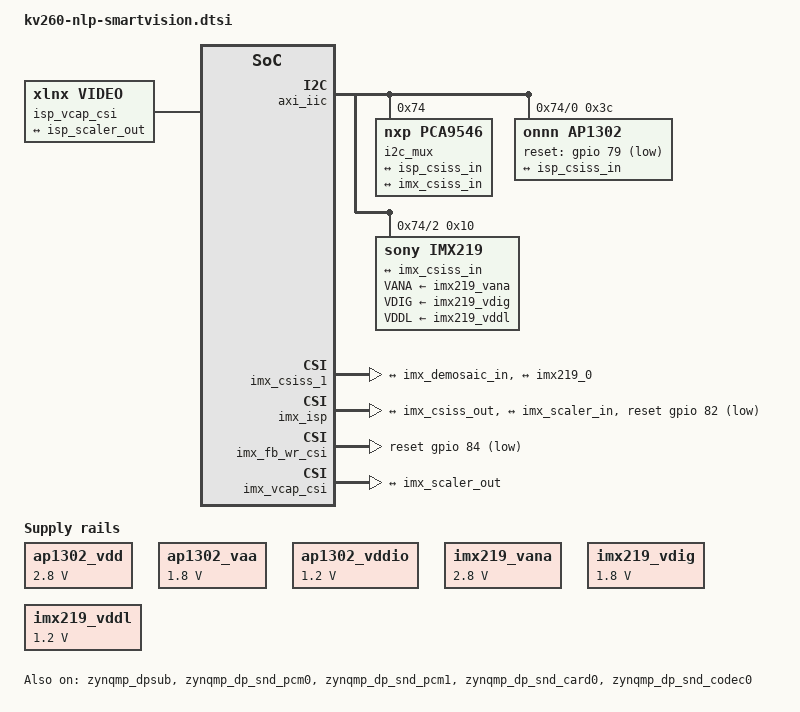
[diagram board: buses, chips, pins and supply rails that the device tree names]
// SPDX-License-Identifier: Apache-2.0
/*
 * dts file for Xilinx KV260 nlp-smartvision
 *
 * (C) Copyright 2020 - 2021, Xilinx, Inc.
 * Copyright (C) 2023 - 2024, Advanced Micro Devices, Inc.
 *
 */

/dts-v1/;
/plugin/;

&fpga_full {
	#address-cells = <2>;
	#size-cells = <2>;
	firmware-name = "kv260-nlp-smartvision.bit.bin";
	resets = <&zynqmp_reset 116>, <&zynqmp_reset 117>, <&zynqmp_reset 118>, <&zynqmp_reset 119>;
};

&zynqmp_dpsub {
	status = "okay";
};

&zynqmp_dp_snd_pcm0 {
	status = "okay";
};

&zynqmp_dp_snd_pcm1 {
	status = "okay";
};

&zynqmp_dp_snd_card0 {
	status = "okay";
};

&zynqmp_dp_snd_codec0 {
	status = "okay";
};

&amba {
	#address-cells = <2>;
	#size-cells = <2>;

	afi0: afi0 {
		compatible = "xlnx,afi-fpga";
		config-afi = <0 0>, <1 0>, <2 0>, <3 0>, <4 1>, <5 1>, <6 0>, <7 0>, <8 1>, <9 1>, <10 2>, <11 2>, <12 2>, <13 2>, <14 0x000>, <15 0x000>;
	};

	pl0_ref_200M: pl0_ref_200M { /* clk_out1 - clk_wiz_0 */
		#clock-cells = <0x0>;
		compatible = "fixed-factor-clock";
		clocks = <&zynqmp_clk 71>;
		clock-div = <6>;
		clock-mult = <12>;
	};

	pl0_ref_100M: pl0_ref_100M { /* clk_out2 - clk_wiz_0 */
		#clock-cells = <0x0>;
		compatible = "fixed-factor-clock";
		clocks = <&zynqmp_clk 71>;
		clock-div = <12>;
		clock-mult = <12>;
	};

	pl0_ref_v200M: pl0_ref_v200M { /* clk_out3 - clk_wiz_0 */
		#clock-cells = <0x0>;
		compatible = "fixed-factor-clock";
		clocks = <&zynqmp_clk 71>;
		clock-div = <6>;
		clock-mult = <12>;
	};

	ap1302_vdd: fixedregulator@0 {
		compatible = "regulator-fixed";
		regulator-name = "ap1302_vdd";
		regulator-min-microvolt = <2800000>;
		regulator-max-microvolt = <2800000>;
		enable-active-high;
	};

	ap1302_vaa: fixedregulator@1 {
		compatible = "regulator-fixed";
		regulator-name = "ap1302_vaa";
		regulator-min-microvolt = <1800000>;
		regulator-max-microvolt = <1800000>;
	};

	ap1302_vddio: fixedregulator@2 {
		compatible = "regulator-fixed";
		regulator-name = "ap1302_vddio";
		regulator-min-microvolt = <1200000>;
		regulator-max-microvolt = <1200000>;
	};

	imx219_vana: fixedregulator@3 {
		compatible = "regulator-fixed";
		regulator-name = "imx219_vana";
		regulator-min-microvolt = <2800000>;
		regulator-max-microvolt = <2800000>;
		enable-active-high;
	};

	imx219_vdig: fixedregulator@4 {
		compatible = "regulator-fixed";
		regulator-name = "imx219_vdig";
		regulator-min-microvolt = <1800000>;
		regulator-max-microvolt = <1800000>;
	};

	imx219_vddl: fixedregulator@5 {
		compatible = "regulator-fixed";
		regulator-name = "imx219_vddl";
		regulator-min-microvolt = <1200000>;
		regulator-max-microvolt = <1200000>;
	};

	axi_iic: i2c@80030000 {
		#address-cells = <1>;
		#size-cells = <0>;
		clock-names = "s_axi_aclk";
		clocks = <&pl0_ref_100M>;
		compatible = "xlnx,axi-iic-2.0", "xlnx,xps-iic-2.00.a";
		interrupt-names = "iic2intc_irpt";
		interrupt-parent = <&gic>;
		interrupts = <0 107 4>;
		reg = <0x0 0x80030000 0x0 0x10000>;

		i2c_mux: i2c-mux@74 {
		compatible = "nxp,pca9546";
		#address-cells = <1>;
		#size-cells = <0>;
		reg = <0x74>;
		i2c@0 {
			#address-cells = <1>;
			#size-cells = <0>;
			reg = <0>;
			ap1302: isp@3c {
			compatible = "onnn,ap1302";
			reg = <0x3c>;
			#address-cells = <1>;
			#size-cells = <0>;
			reset-gpios = <&gpio 79 1>;
			clocks = <&si5332_2>; /* u17 - 48MHz clock - modelled in board dts */
			sensors {
				#address-cells = <1>;
				#size-cells = <0>;
				onnn,model = "onnn,ar1335";
				sensor@0 {
				reg = <0>;
				vdd-supply = <&ap1302_vdd>;
				vaa-supply = <&ap1302_vaa>;
				vddio-supply = <&ap1302_vddio>;
				};
			};
			ports {
				#address-cells = <1>;
				#size-cells = <0>;
				port@0 {
				reg = <2>;
				isp_out: endpoint {
					remote-endpoint = <&isp_csiss_in>;
					data-lanes = <1 2 3 4>;
				};
				};
			};
			};
		};
		i2c@2 {
			#address-cells = <1>;
			#size-cells = <0>;
			reg = <2>;
			imx219: sensor@10 {
				compatible = "sony,imx219";
				reg = <0x10>;
				clocks = <&si5332_3>; /* u17 - 24MHz clock - modelled in board dts */
				VANA-supply = <&imx219_vana>;   /* 2.8v */
				VDIG-supply = <&imx219_vdig>;   /* 1.8v */
				VDDL-supply = <&imx219_vddl>;   /* 1.2v */
				//reset-gpios = <&axi_gpio 2 0 0>;

				port {
					imx219_0: endpoint {
						remote-endpoint = <&imx_csiss_in>;
						data-lanes = <1 2>;
						link-frequencies = /bits/ 64 <456000000>;
					};
				};
			};
		};
		};
	};

	isp_csiss: csiss@80000000 {
		compatible = "xlnx,mipi-csi2-rx-subsystem-5.0";
		reg = <0x0 0x80000000 0x0 0x1000>;
		clock-names = "lite_aclk", "dphy_clk_200M", "video_aclk";
		clocks = <&pl0_ref_100M>, <&pl0_ref_200M>, <&pl0_ref_v200M>;
		interrupt-parent = <&gic>;
		interrupts = <0 104 4>;
		xlnx,csi-pxl-format = <0x1e>;
		xlnx,axis-tdata-width = <32>;
		xlnx,max-lanes = <4>;
		xlnx,en-active-lanes;
		xlnx,ppc = <1>;
		xlnx,vfb;

		ports {
		#address-cells = <0x1>;
		#size-cells = <0x0>;

		port@1 {
			reg = <0x1>;
			isp_csiss_out: endpoint {
				remote-endpoint = <&isp_scaler_in>;
			};
		};
		port@0 {
			reg = <0x0>;

			isp_csiss_in: endpoint {
				data-lanes = <1 2 3 4>;
				remote-endpoint = <&isp_out>;
			};
		};
		};
	};

	isp_scaler_1: scaler@b00c0000 {
		compatible = "xlnx,v-vpss-scaler-2.2";
		reg = <0x0 0xb00c0000 0x0 0x40000>;
		clock-names = "aclk_axis", "aclk_ctrl";
		clocks = <&pl0_ref_v200M>, <&pl0_ref_v200M>;
		xlnx,num-hori-taps = <6>;
		xlnx,num-vert-taps = <6>;
		xlnx,pix-per-clk = <1>;
		reset-gpios = <&gpio 85 1>;
		xlnx,max-height = <1080>;
		xlnx,max-width = <1920>;
		xlnx,v-scaler-phases = <64>;
		xlnx,v-scaler-taps = <6>;
		xlnx,h-scaler-phases = <64>;
		xlnx,h-scaler-taps = <6>;

		ports {
		#address-cells = <1>;
		#size-cells = <0>;

		port@0 {
			reg = <0>;
			xlnx,video-format = <0x0>;
			xlnx,video-width = <8>;

			isp_scaler_in: endpoint {
				remote-endpoint = <&isp_csiss_out>;
			};
		};
		port@1 {
			reg = <1>;
			xlnx,video-format = <0x3>;
			xlnx,video-width = <8>;

			isp_scaler_out: endpoint {
				remote-endpoint = <&isp_vcap_csi_in>;
			};
		};
		};
	};

	isp_fb_wr_csi: fb_wr@b0010000 {
		compatible = "xlnx,axi-frmbuf-wr-v2.1";
		reg = <0x0 0xb0010000 0x0 0x10000>;
		#dma-cells = <1>;
		interrupt-parent = <&gic>;
		interrupts = <0 105 4>;
		xlnx,vid-formats = "nv12", "bgr888", "rgb888";
		reset-gpios = <&gpio 78 1>;
		xlnx,dma-addr-width = <32>;
		xlnx,pixels-per-clock = <1>;
		xlnx,max-width = <1920>;
		xlnx,max-height = <1080>;
		clocks = <&pl0_ref_v200M>;
		clock-names = "ap_clk";
	};

	isp_vcap_csi {
		compatible = "xlnx,video";
		dmas = <&isp_fb_wr_csi 0>;
		dma-names = "port0";

		ports {
		#address-cells = <1>;
		#size-cells = <0>;

			port@0 {
				reg = <0>;
				direction = "input";

				isp_vcap_csi_in: endpoint {
					remote-endpoint = <&isp_scaler_out>;
				};
			};
		};
	};

	imx_csiss_1: csiss@0x80002000 {
		compatible = "xlnx,mipi-csi2-rx-subsystem-5.1", "xlnx,mipi-csi2-rx-subsystem-5.0";
		reg = <0x0 0x80002000 0x0 0x2000>;
		clock-names = "lite_aclk", "dphy_clk_200M", "video_aclk";
		clocks = <&pl0_ref_100M>, <&pl0_ref_200M>, <&pl0_ref_v200M>;
		interrupt-parent = <&gic>;
		interrupts = <0 108 4>;
		xlnx,csi-pxl-format = <0x2b>;
		xlnx,axis-tdata-width = <32>;
		xlnx,max-lanes = <2>;
		xlnx,en-active-lanes;
		xlnx,vc = <4>;
		xlnx,ppc = <1>;
		xlnx,vfb;

		ports {
			#address-cells = <1>;
			#size-cells = <0>;

			port@1 {
				reg = <0x1>;
				xlnx,video-format = <12>;
				xlnx,video-width = <8>;

				imx_csiss_out: endpoint {
				   remote-endpoint = <&imx_demosaic_in>;
				};
			};
			port@0 {
				reg = <0x0>;
				xlnx,video-format = <12>;
				xlnx,video-width = <8>;

				imx_csiss_in: endpoint {
				   data-lanes = <1 2>;
				   remote-endpoint = <&imx219_0>;
				};
			};
		};
	};

	imx_isp: isp_accel@b0000000 {
			clock-names = "ap_clk";
			clocks = <&pl0_ref_v200M>;
			compatible = "xlnx,ISPPipeline_accel";
			reset-gpios = <&gpio 82 1>;
			reg = <0x0 0xb0000000 0x0 0x10000>;
			xlnx,s-axi-ctrl-addr-width = <0xc>;
			xlnx,s-axi-ctrl-data-width = <0x20>;
			xlnx,max-height = <1080>;
			xlnx,max-width = <1920>;
			xlnx,rgain = <128>;
			xlnx,bgain = <210>;
			xlnx,pawb = <350>;
			xlnx,mode-reg = <1>;
		ports {
			#address-cells = <1>;
			#size-cells = <0>;

			port@0 {
				reg = <0>;
				xlnx,video-width = <10>;
				xlnx,cfa-pattern = "rggb";

				imx_demosaic_in: endpoint {
					remote-endpoint = <&imx_csiss_out>;
				};
			};

			port@1 {
				reg = <1>;
				xlnx,video-width = <8>;
				xlnx,cfa-pattern = "rggb";

				imx_demosaic_out: endpoint {
					remote-endpoint = <&imx_scaler_in>;
				};
			};
		};
	};

	imx_scaler_1: scaler@0xb0040000 {
		compatible = "xlnx,v-vpss-scaler-2.2";
		reg = <0x0 0xb0040000 0x0 0x40000>;
		clock-names = "aclk_axis", "aclk_ctrl";
		clocks = <&pl0_ref_v200M>, <&pl0_ref_v200M>;
		xlnx,num-hori-taps = <6>;
		xlnx,num-vert-taps = <6>;
		xlnx,pix-per-clk = <1>;
		reset-gpios = <&gpio 83 1>;
		xlnx,max-height = <1080>;
		xlnx,max-width = <1920>;

		ports {
			#address-cells = <1>;
			#size-cells = <0>;

			port@0 {
				reg = <0>;
				xlnx,video-format = <3>;
				xlnx,video-width = <8>;

				imx_scaler_in: endpoint {
					remote-endpoint = <&imx_demosaic_out>;
				};
			};

			port@1 {
				reg = <1>;
				xlnx,video-format = <3>;
				xlnx,video-width = <8>;

				imx_scaler_out: endpoint {
					remote-endpoint = <&imx_vcap_csi_in>;
				};
			};
		};
	};

	imx_fb_wr_csi: fb_wr@0xb0080000 {
		compatible = "xlnx,v-frmbuf-wr-2.2", "xlnx,axi-frmbuf-wr-v2.1";
		reg = <0x0 0xb0080000 0x0 0x10000>;
		#dma-cells = <1>;
		interrupt-parent = <&gic>;
		interrupts = <0 106 4>;
		reset-gpios = <&gpio 84 1>;
		xlnx,vid-formats = "nv12", "bgr888", "rgb888";
		xlnx,dma-addr-width = <32>;
		xlnx,pixels-per-clock = <1>;
		xlnx,max-height = <1080>;
		xlnx,max-width = <1920>;
		clocks = <&pl0_ref_v200M>;
		clock-names = "ap_clk";
	};

	imx_vcap_csi {
		compatible = "xlnx,video";
		dmas = <&imx_fb_wr_csi 0>;
		dma-names = "port0";

		ports {
			#address-cells = <1>;
			#size-cells = <0>;

			port@0 {
				reg = <0>;
				direction = "input";

				imx_vcap_csi_in: endpoint {
					remote-endpoint = <&imx_scaler_out>;
				};
			};
		};
	};

	zocl: zyxclmm_drm {
		compatible = "xlnx,zocl";
		status = "okay";
		interrupt-parent = <&gic>;
		interrupts = <0 89  4>, <0 90  4>, <0 91  4>, <0 92  4>,
			<0 93  4>, <0 94  4>, <0 95  4>, <0 96  4>;
	};
};

